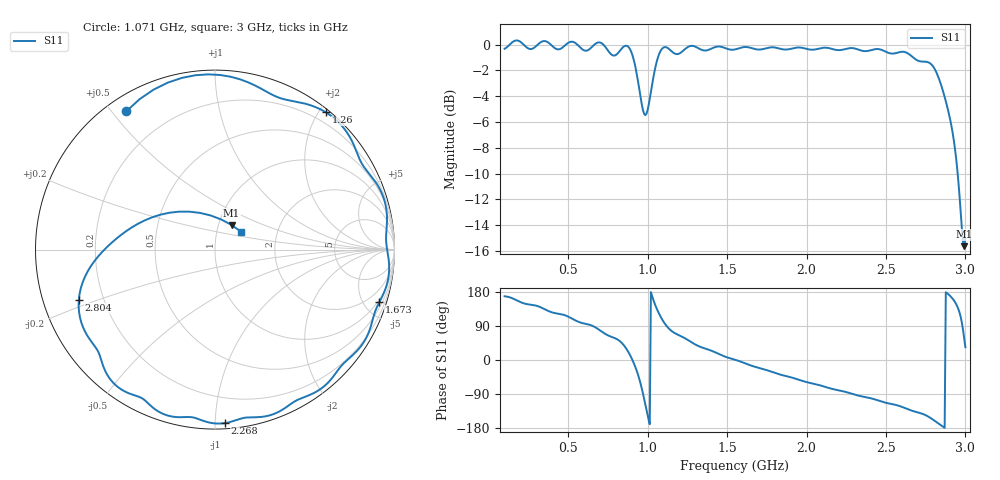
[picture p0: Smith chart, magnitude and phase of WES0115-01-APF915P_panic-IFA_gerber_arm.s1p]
! openEMS-z2labs kicad_sim, WES0115-01-APF915P_panic-IFA.kicad_pcb
! ports: 1=SMA5 (F.Cu over B.Cu)
! stackup: file
! copper: sheet, mask: False
# Hz S RI R 50
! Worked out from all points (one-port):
!   401 points, 100 MHz to 3 GHz, reference 50 ohm
!   lowest |S11| = -15.6 dB at 2.993 GHz (marker M1), VSWR 1.40, Z = 57.7 + j16.3 ohm
!   |S11| at or under -10 dB: 2.951 GHz to end of sweep
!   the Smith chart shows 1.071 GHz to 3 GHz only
!   S11 on the Smith chart (normalised r, x): 1.071 GHz: 0.06, +0.55; 1.26 GHz: 0.05, +2.09; 1.673 GHz: 0.82, -6.33; 2.268 GHz: 0.03, -1.06; 2.804 GHz: 0.11, -0.18; 3 GHz: 1.31, +0.27
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1e8  -0.9433 0.1968
3.2475e8  -0.7746 0.6614
4.625e8  -0.4893 0.8395
6.8725e8  0.1423 1.008
8.25e8  0.6078 0.7233
8.6125e8  0.8316 0.5363
9.0475e8  0.9087 -0.00405
9.3375e8  0.6474 -0.3913
9.6275e8  0.1634 -0.5662
9.9175e8  -0.3463 -0.4112
1.02075e9  -0.6552 0.00887
1.0425e9  -0.6846 0.3774
1.0715e9  -0.4932 0.7712
1.115e9  -0.0368 0.9763
1.1875e9  0.3535 0.8474
1.26e9  0.6178 0.7649
1.44125e9  0.9385 0.2907
1.55e9  0.9572 0.0119
1.67325e9  0.9162 -0.2918
1.9125e9  0.6598 -0.7062
2.26775e9  0.0548 -0.9666
2.275e9  0.0392 -0.9684
2.6375e9  -0.5928 -0.7095
2.80425e9  -0.7589 -0.2802
2.90575e9  -0.4961 0.1019
2.9565e9  -0.2006 0.2114
2.99275e9  0.0925 0.1371
3e9  0.1471 0.098
